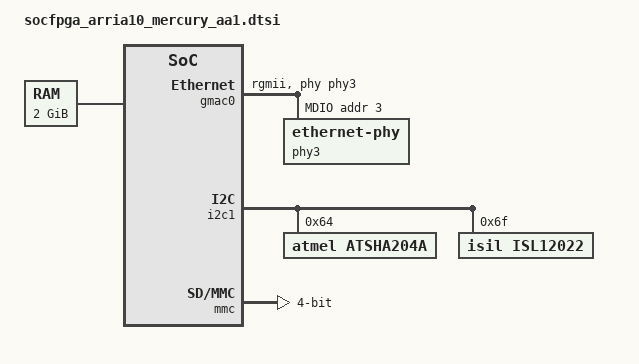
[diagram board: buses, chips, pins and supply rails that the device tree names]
// SPDX-License-Identifier: GPL-2.0
/*
 * Copyright 2022 Google LLC
 */
#include "socfpga_arria10.dtsi"

/ {
	aliases {
		ethernet0 = &gmac0;
		serial1 = &uart1;
	};

	chosen {
		stdout-path = "serial1:115200n8";
	};

	memory@0 {
		name = "memory";
		device_type = "memory";
		reg = <0x0 0x80000000>; /* 2GB */
	};
};

&gmac0 {
	phy-mode = "rgmii";
	phy-handle = <&phy3>;

	max-frame-size = <3800>;

	mdio {
		#address-cells = <1>;
		#size-cells = <0>;
		compatible = "snps,dwmac-mdio";
		phy3: ethernet-phy@3 {
			reg = <3>;
			txd0-skew-ps = <0>; /* -420ps */
			txd1-skew-ps = <0>; /* -420ps */
			txd2-skew-ps = <0>; /* -420ps */
			txd3-skew-ps = <0>; /* -420ps */
			rxd0-skew-ps = <420>; /* 0ps */
			rxd1-skew-ps = <420>; /* 0ps */
			rxd2-skew-ps = <420>; /* 0ps */
			rxd3-skew-ps = <420>; /* 0ps */
			txen-skew-ps = <0>; /* -420ps */
			txc-skew-ps = <1860>; /* 960ps */
			rxdv-skew-ps = <420>; /* 0ps */
			rxc-skew-ps = <1680>; /* 780ps */
		};
	};
};

&i2c1 {
	atsha204a: atsha204a@64 {
		compatible = "atmel,atsha204a";
		reg = <0x64>;
	};

	isl12022: isl12022@6f {
		compatible = "isil,isl12022";
		reg = <0x6f>;
	};
};

&mmc {
	cap-sd-highspeed;
	broken-cd;
	bus-width = <4>;
};

&osc1 {
	clock-frequency = <33330000>;
};
